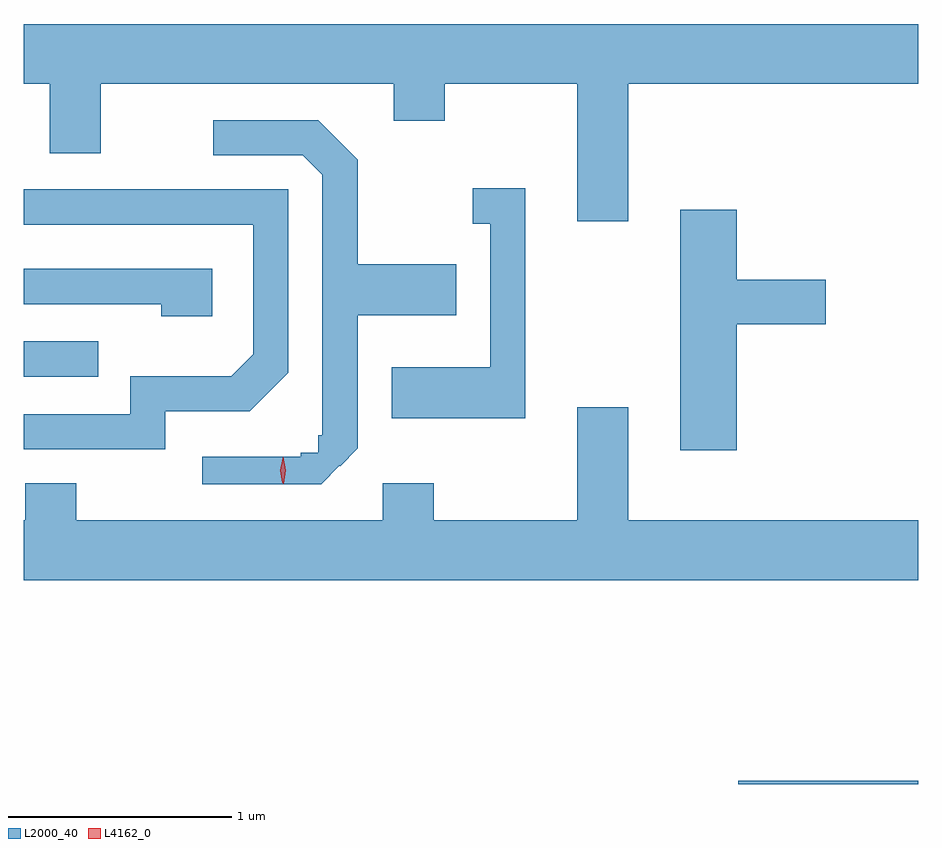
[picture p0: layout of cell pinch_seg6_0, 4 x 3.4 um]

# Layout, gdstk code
import gdstk
lib = gdstk.Library(unit=1e-6, precision=1e-09)
def R(c, l, rs):  # rectangles x0, y0, x1, y1
    for r in rs: c.add(gdstk.rectangle(r[:2], r[2:], *l))
def P(c, l, *ps):  # polygons
    for p in ps: c.add(gdstk.Polygon(p, *l))
L2000_40 = (2000, 40)
L4162_0 = (4162, 0)

pinch_seg6_0 = lib.new_cell('pinch_seg6_0')
R(pinch_seg6_0, L2000_40, [(840.431,1564.664,841.236,1564.679), (837.236,1566.486,837.568,1566.644)])
P(pinch_seg6_0, L2000_40, [(839.939,1567.796),(841.236,1567.796),(841.236,1568.064),(837.236,1568.064),(837.236,1567.796),(837.351,1567.796),(837.351,1567.486),(837.579,1567.486),(837.579,1567.796),(838.891,1567.796),(838.891,1567.631),(839.119,1567.631),(839.119,1567.796),(839.711,1567.796),(839.711,1567.181),(839.939,1567.181)],
  [(838.647,1566.088),(838.65,1566.086),(838.729,1566.165),(838.729,1566.761),(839.169,1566.761),(839.169,1566.989),(838.729,1566.989),(838.729,1567.457),(838.552,1567.634),(838.083,1567.634),(838.083,1567.476),(838.484,1567.476),(838.571,1567.389),(838.571,1566.224),(838.553,1566.224),(838.553,1566.147),(838.475,1566.147),(838.475,1566.128),(838.033,1566.128),(838.033,1566.006),(838.565,1566.006)],
  [(839.479,1567.329),(839.243,1567.329),(839.243,1567.171),(839.321,1567.171),(839.321,1566.529),(838.881,1566.529),(838.881,1566.301),(839.479,1566.301)],
  [(837.869,1566.331),(838.247,1566.331),(838.419,1566.504),(838.419,1567.324),(837.236,1567.324),(837.236,1567.166),(838.261,1567.166),(838.261,1566.587),(838.164,1566.489),(837.711,1566.489),(837.711,1566.319),(837.236,1566.319),(837.236,1566.161),(837.869,1566.161)],
  [(840.424,1566.721),(840.824,1566.721),(840.824,1566.919),(840.424,1566.919),(840.424,1567.234),(840.171,1567.234),(840.171,1566.156),(840.424,1566.156)],
  [(838.079,1566.969),(837.236,1566.969),(837.236,1566.811),(837.851,1566.811),(837.851,1566.756),(838.079,1566.756)],
  [(841.236,1565.844),(839.939,1565.844),(839.939,1566.349),(839.711,1566.349),(839.711,1565.844),(839.069,1565.844),(839.069,1566.009),(838.841,1566.009),(838.841,1565.844),(837.469,1565.844),(837.469,1566.009),(837.241,1566.009),(837.241,1565.844),(837.236,1565.844),(837.236,1565.576),(841.236,1565.576)])
P(pinch_seg6_0, L4162_0, [(838.392,1566.011),(838.383,1566.067),(838.393,1566.122),(838.393,1566.123),(838.394,1566.122),(838.403,1566.067),(838.393,1566.011),(838.393,1566.011)],
  [(838.397,1566.007),(838.387,1566.067),(838.395,1566.127),(838.396,1566.127),(838.396,1566.127),(838.407,1566.067),(838.398,1566.007),(838.398,1566.007)])

lib.write_gds('pinch_seg6_0.gds')
